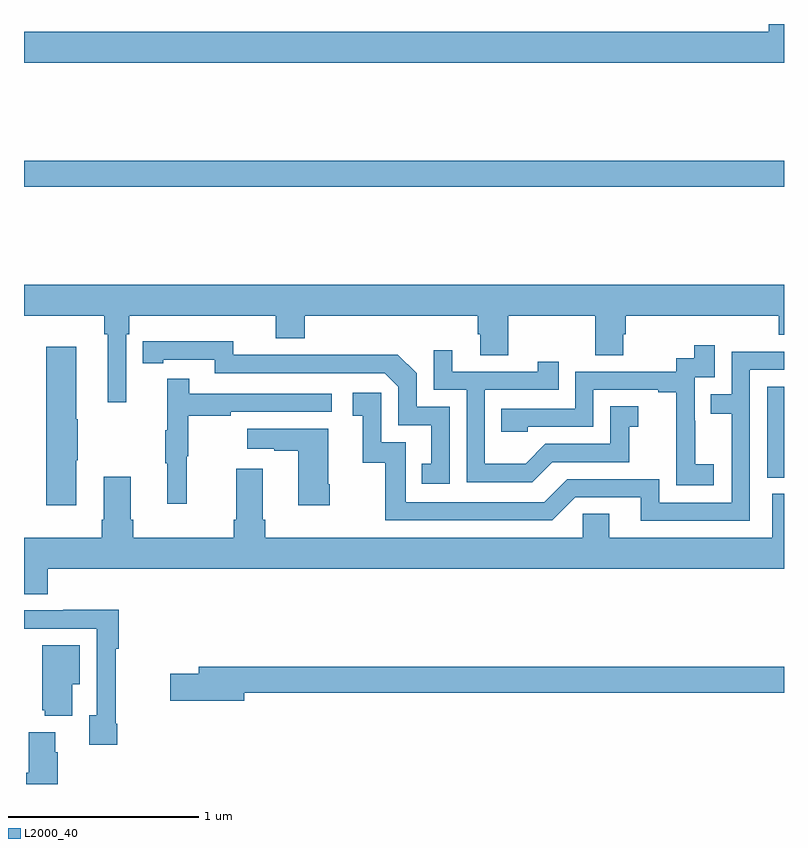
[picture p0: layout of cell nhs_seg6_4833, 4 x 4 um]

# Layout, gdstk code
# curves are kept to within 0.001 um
import gdstk
lib = gdstk.Library(unit=1e-6, precision=1e-09)
def R(c, l, rs):  # rectangles x0, y0, x1, y1
    for r in rs: c.add(gdstk.rectangle(r[:2], r[2:], *l))
def P(c, l, *ps):  # polygons
    for p in ps: c.add(gdstk.Polygon(p, *l))
L2000_40 = (2000, 40)

nhs_seg6_4833 = lib.new_cell('nhs_seg6_4833')
R(nhs_seg6_4833, L2000_40, [(400.911,985.113,401,985.59), (397,986.644,401,986.78)])
P(nhs_seg6_4833, L2000_40, [(401,987.5),(400.921,987.5),(400.921,987.46),(397,987.46),(397,987.296),(401,987.296)],
  [(397.539,985.868),(397.553,985.868),(397.553,985.964),(398.324,985.964),(398.324,985.847),(398.477,985.847),(398.477,985.964),(399.389,985.964),(399.389,985.866),(399.401,985.866),(399.401,985.756),(399.549,985.756),(399.549,985.964),(400.006,985.964),(400.006,985.756),(400.153,985.756),(400.153,985.866),(400.166,985.866),(400.166,985.964),(400.973,985.964),(400.973,985.865),(401,985.865),(401,986.128),(397,986.128),(397,985.964),(397.423,985.964),(397.423,985.868),(397.442,985.868),(397.442,985.509),(397.539,985.509)],
  [(399.24,985.485),(399.066,985.485),(399.066,985.662),(398.968,985.76),(398.56,985.76),(398.56,985.758),(398.1,985.758),(398.1,985.831),(397.624,985.83),(397.624,985.714),(397.732,985.714),(397.732,985.734),(398.004,985.734),(398.004,985.662),(398.898,985.662),(398.97,985.59),(398.97,985.389),(399.143,985.389),(399.143,985.185),(399.094,985.185),(399.094,985.08),(399.24,985.08)],
  [(400.63,985.183),(400.532,985.183),(400.532,985.412),(400.53,985.412),(400.53,985.641),(400.635,985.641),(400.635,985.81),(400.527,985.81),(400.527,985.74),(400.434,985.74),(400.434,985.671),(399.9,985.671),(399.9,985.476),(399.511,985.476),(399.511,985.353),(399.651,985.353),(399.651,985.38),(399.996,985.38),(399.996,985.575),(400.337,985.575),(400.337,985.563),(400.433,985.563),(400.433,985.279),(400.432,985.279),(400.432,985.073),(400.63,985.073)],
  [(397.276,985.204),(397.284,985.204),(397.284,985.421),(397.276,985.421),(397.276,985.801),(397.118,985.801),(397.118,984.966),(397.276,984.966)],
  [(399.781,985.194),(400.185,985.194),(400.185,985.379),(400.234,985.379),(400.234,985.489),(400.086,985.489),(400.086,985.29),(399.744,985.29),(399.64,985.186),(399.426,985.186),(399.426,985.575),(399.815,985.575),(399.815,985.723),(399.704,985.723),(399.704,985.671),(399.253,985.671),(399.253,985.783),(399.156,985.783),(399.156,985.575),(399.33,985.575),(399.33,985.089),(399.676,985.089)],
  [(400.821,985.68),(401,985.68),(401,985.776),(400.725,985.776),(400.725,985.551),(400.615,985.551),(400.615,985.45),(400.725,985.45),(400.725,984.981),(400.344,984.981),(400.344,985.104),(399.858,985.104),(399.738,984.984),(399.009,984.984),(399.009,985.299),(398.88,985.299),(398.88,985.558),(398.73,985.558),(398.73,985.437),(398.783,985.437),(398.783,985.191),(398.901,985.191),(398.901,984.888),(399.78,984.888),(399.9,985.008),(400.247,985.008),(400.247,984.885),(400.821,984.885)],
  [(397.856,985.224),(397.864,985.224),(397.864,985.438),(398.087,985.438),(398.087,985.458),(398.62,985.458),(398.62,985.554),(397.871,985.554),(397.871,985.633),(397.754,985.633),(397.754,985.361),(397.743,985.361),(397.743,985.187),(397.754,985.187),(397.754,984.975),(397.856,984.975)],
  [(398.61,985.078),(398.602,985.078),(398.602,985.369),(398.175,985.369),(398.175,985.265),(398.318,985.265),(398.318,985.255),(398.444,985.255),(398.444,984.966),(398.61,984.966)],
  [(397.124,984.632),(401,984.632),(401,985.028),(400.937,985.028),(400.937,984.796),(400.081,984.796),(400.081,984.923),(399.942,984.923),(399.942,984.796),(398.27,984.796),(398.27,984.892),(398.257,984.892),(398.257,985.159),(398.117,985.159),(398.117,984.892),(398.105,984.892),(398.105,984.796),(397.574,984.796),(397.574,984.892),(397.561,984.892),(397.561,985.117),(397.421,985.117),(397.421,984.892),(397.409,984.892),(397.409,984.796),(397,984.796),(397,984.499),(397.124,984.499)],
  [(397.492,983.818),(397.484,983.818),(397.484,984.211),(397.499,984.211),(397.499,984.416),(397.207,984.416),(397.207,984.414),(397,984.414),(397,984.318),(397.383,984.318),(397.383,983.862),(397.343,983.862),(397.343,983.706),(397.492,983.706)],
  [(397.255,984.026),(397.294,984.026),(397.294,984.229),(397.097,984.229),(397.097,983.889),(397.109,983.889),(397.109,983.858),(397.255,983.858)],
  [(398.158,983.98),(401,983.98),(401,984.116),(397.919,984.116),(397.919,984.08),(397.77,984.08),(397.77,983.938),(398.158,983.938)],
  [(397.178,983.666),(397.165,983.666),(397.165,983.773),(397.025,983.773),(397.025,983.56),(397.013,983.56),(397.013,983.5),(397.178,983.5)])

lib.write_gds('nhs_seg6_4833.gds')
